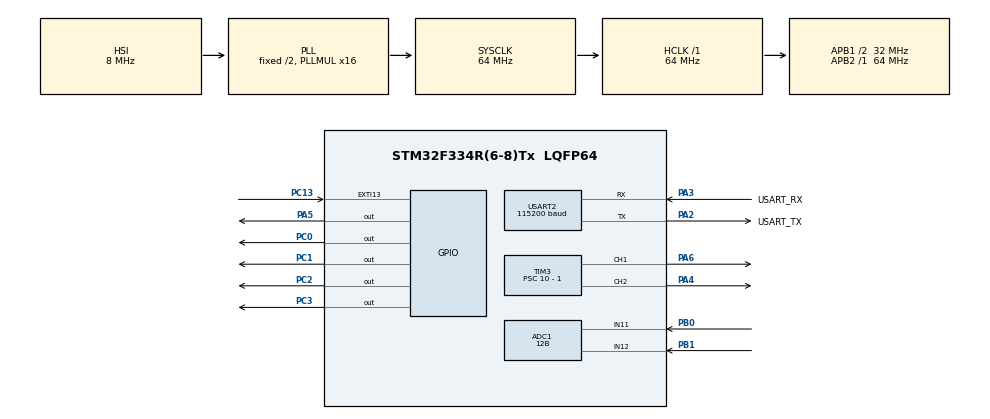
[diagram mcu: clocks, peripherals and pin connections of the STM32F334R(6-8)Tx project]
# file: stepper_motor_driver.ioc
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ADC1.Channel-0\#ChannelRegularConversion=ADC_CHANNEL_11
ADC1.Channel-1\#ChannelRegularConversion=ADC_CHANNEL_12
ADC1.ClockPrescaler=ADC_CLOCK_SYNC_PCLK_DIV4
ADC1.ContinuousConvMode=ENABLE
ADC1.DMAContinuousRequests=ENABLE
ADC1.DataAlign=ADC_DATAALIGN_RIGHT
ADC1.DiscontinuousConvMode=DISABLE
ADC1.EOCSelection=ADC_EOC_SINGLE_CONV
ADC1.EnableAnalogWatchDog1=false
ADC1.EnableAnalogWatchDog2=false
ADC1.EnableAnalogWatchDog3=false
ADC1.EnableInjectedConversion=ENABLE
ADC1.EnableRegularConversion=ENABLE
ADC1.ExternalTrigConv=ADC_SOFTWARE_START
ADC1.ExternalTrigConvEdge=ADC_EXTERNALTRIGCONVEDGE_NONE
ADC1.InjNumberOfConversion=0
ADC1.LowPowerAutoWait=DISABLE
ADC1.NbrOfConversion=2
ADC1.NbrOfConversionFlag=1
ADC1.Offset-0\#ChannelRegularConversion=0
ADC1.Offset-1\#ChannelRegularConversion=0
ADC1.OffsetNumber-0\#ChannelRegularConversion=ADC_OFFSET_NONE
ADC1.OffsetNumber-1\#ChannelRegularConversion=ADC_OFFSET_NONE
ADC1.Overrun=ADC_OVR_DATA_OVERWRITTEN
ADC1.Rank-0\#ChannelRegularConversion=1
ADC1.Rank-1\#ChannelRegularConversion=2
ADC1.Resolution=ADC_RESOLUTION_12B
ADC1.SamplingTime-0\#ChannelRegularConversion=ADC_SAMPLETIME_601CYCLES_5
ADC1.SamplingTime-1\#ChannelRegularConversion=ADC_SAMPLETIME_601CYCLES_5
ADC1.ScanConvMode=ADC_SCAN_ENABLE
ADC1.SubFamily=STM32F334x8
ADC1.master=1
Dma.ADC1.0.Direction=DMA_PERIPH_TO_MEMORY
Dma.ADC1.0.Instance=DMA1_Channel1
Dma.ADC1.0.MemDataAlignment=DMA_MDATAALIGN_HALFWORD
Dma.ADC1.0.MemInc=DMA_MINC_ENABLE
Dma.ADC1.0.Mode=DMA_CIRCULAR
Dma.ADC1.0.PeriphDataAlignment=DMA_PDATAALIGN_HALFWORD
Dma.ADC1.0.PeriphInc=DMA_PINC_DISABLE
Dma.ADC1.0.Priority=DMA_PRIORITY_LOW
Dma.Request0=ADC1
Mcu.Family=STM32F3
Mcu.Name=STM32F334R(6-8)Tx
Mcu.Package=LQFP64
NVIC.DMA1_Channel1_IRQn=true\:0\:5\:false\:false\:true
NVIC.EXTI15_10_IRQn=true\:0\:4\:false\:false\:true
NVIC.PriorityGroup=NVIC_PRIORITYGROUP_0
NVIC.TIM3_IRQn=true\:0\:3\:false\:false\:true
NVIC.TIM6_DAC1_IRQn=true\:0\:4\:false\:false\:true
NVIC.USART2_IRQn=true\:0\:2\:false\:false\:true
PA13.GPIO_Label=TMS
PA13.Signal=SYS_JTMS-SWDIO
PA14.GPIO_Label=TCK
PA14.Signal=SYS_JTCK-SWCLK
PA2.GPIO_Label=USART_TX
PA2.Mode=Asynchronous
PA2.Signal=USART2_TX
PA3.GPIO_Label=USART_RX
PA3.Mode=Asynchronous
PA3.Signal=USART2_RX
PA4.Signal=S_TIM3_CH2
PA5.Signal=GPIO_Output
PA6.Signal=S_TIM3_CH1
PB0.Mode=IN11-Single-Ended
PB0.Signal=ADC1_IN11
PB1.Mode=IN12-Single-Ended
PB1.Signal=ADC1_IN12
PB3.GPIO_Label=SWO
PB3.Signal=SYS_JTDO-TRACESWO
PC0.Signal=GPIO_Output
PC1.Signal=GPIO_Output
PC13.GPIO_ModeDefaultEXTI=GPIO_MODE_IT_FALLING
PC13.Signal=GPXTI13
PC2.Signal=GPIO_Output
PC3.Signal=GPIO_Output
ProjectManager.HeapSize=0x200
ProjectManager.StackSize=0x400
ProjectManager.TargetToolchain=SW4STM32
RCC.AHBFreq_Value=64000000
RCC.APB1CLKDivider=RCC_HCLK_DIV2
RCC.APB1Freq_Value=32000000
RCC.APB1TimFreq_Value=64000000
RCC.APB2Freq_Value=64000000
RCC.APB2TimFreq_Value=64000000
RCC.CortexFreq_Value=64000000
RCC.FLatency-AdvancedSettings=FLASH_LATENCY_2
RCC.HCLKFreq_Value=64000000
RCC.HSE_VALUE=8000000
RCC.HSI_VALUE=8000000
RCC.LSE_VALUE=32768
RCC.PLLMUL=RCC_PLL_MUL16
RCC.SYSCLKFreq_VALUE=64000000
RCC.SYSCLKSourceVirtual=RCC_SYSCLKSOURCE_PLLCLK
SH.S_TIM3_CH1.0=TIM3_CH1,PWM Generation1 CH1
SH.S_TIM3_CH2.0=TIM3_CH2,PWM Generation2 CH2
TIM3.Channel-PWM\ Generation1\ CH1=TIM_CHANNEL_1
TIM3.Channel-PWM\ Generation2\ CH2=TIM_CHANNEL_2
TIM3.Period=256 - 1
TIM3.Prescaler=10 - 1
TIM6.Period=40 - 1
TIM6.Prescaler=64000 - 1
USART2.BaudRate=115200
USART2.VirtualMode-Asynchronous=VM_ASYNC
VP_TIM3_VS_ClockSourceINT.Mode=Internal
VP_TIM6_VS_ClockSourceINT.Mode=Enable_Timer
board=NUCLEO-F334R8

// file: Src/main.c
/**
  ******************************************************************************
  * File Name          : main.c
  * Description        : Main program body
  ******************************************************************************
  ** This notice applies to any and all portions of this file
  * that are not between comment pairs USER CODE BEGIN and
  * USER CODE END. Other portions of this file, whether
  * inserted by the user or by software development tools
  * are owned by their respective copyright owners.
  *
  * COPYRIGHT(c) 2018 STMicroelectronics
  *
  * Redistribution and use in source and binary forms, with or without modification,
  * are permitted provided that the following conditions are met:
  *   1. Redistributions of source code must retain the above copyright notice,
  *      this list of conditions and the following disclaimer.
  *   2. Redistributions in binary form must reproduce the above copyright notice,
  *      this list of conditions and the following disclaimer in the documentation
  *      and/or other materials provided with the distribution.
  *   3. Neither the name of STMicroelectronics nor the names of its contributors
  *      may be used to endorse or promote products derived from this software
  *      without specific prior written permission.
  *
  * THIS SOFTWARE IS PROVIDED BY THE COPYRIGHT HOLDERS AND CONTRIBUTORS "AS IS"
  * AND ANY EXPRESS OR IMPLIED WARRANTIES, INCLUDING, BUT NOT LIMITED TO, THE
  * IMPLIED WARRANTIES OF MERCHANTABILITY AND FITNESS FOR A PARTICULAR PURPOSE ARE
  * DISCLAIMED. IN NO EVENT SHALL THE COPYRIGHT HOLDER OR CONTRIBUTORS BE LIABLE
  * FOR ANY DIRECT, INDIRECT, INCIDENTAL, SPECIAL, EXEMPLARY, OR CONSEQUENTIAL
  * DAMAGES (INCLUDING, BUT NOT LIMITED TO, PROCUREMENT OF SUBSTITUTE GOODS OR
  * SERVICES; LOSS OF USE, DATA, OR PROFITS; OR BUSINESS INTERRUPTION) HOWEVER
  * CAUSED AND ON ANY THEORY OF LIABILITY, WHETHER IN CONTRACT, STRICT LIABILITY,
  * OR TORT (INCLUDING NEGLIGENCE OR OTHERWISE) ARISING IN ANY WAY OUT OF THE USE
  * OF THIS SOFTWARE, EVEN IF ADVISED OF THE POSSIBILITY OF SUCH DAMAGE.
  *
  ******************************************************************************
  */
#include "main.h"
#include "stm32f3xx_hal.h"

/* USER CODE BEGIN Includes */
#include <string.h>

#define STEP_RESOLUTION 256

#define D_HEADER          0b10101010
#define D_STOP(in)        (in.mode & 0b10000000)
#define D_DIRECTION(in)   (in.mode & 0b01000000)
#define D_STEP_SIZE(in)   (in.mode & 0b00111111)

#define S_HEADER          0b10100000
#define S_RESET           0b00000001
#define S_SINGLESTEPPING  0b00000010
#define S_OVERHEAT        0b00000100
#define S_OVERVOLTAGE     0b00001000
#define S_UNDERVOLTAGE    0b00010000

/* USER CODE END Includes */

ADC_HandleTypeDef hadc1;
DMA_HandleTypeDef hdma_adc1;

TIM_HandleTypeDef htim3;
TIM_HandleTypeDef htim6;

UART_HandleTypeDef huart2;

/* USER CODE BEGIN PV */
/* Private variables ---------------------------------------------------------*/
const int16_t qsin[64] = {
  0,
  25,
  50,
  74,
  98,
  121,
  142,
  162,
  181,
  198,
  213,
  226,
  237,
  245,
  251,
  255,
  256,
  255,
  251,
  245,
  237,
  226,
  213,
  198,
  181,
  162,
  142,
  121,
  98,
  74,
  50,
  25,
  0,
  -25,
  -50,
  -74,
  -98,
  -121,
  -142,
  -162,
  -181,
  -198,
  -213,
  -226,
  -237,
  -245,
  -251,
  -255,
  -256,
  -255,
  -251,
  -245,
  -237,
  -226,
  -213,
  -198,
  -181,
  -162,
  -142,
  -121,
  -98,
  -74,
  -50,
  -25,
};

const int16_t qcos[64] = {
  256,
  255,
  251,
  245,
  237,
  226,
  213,
  198,
  181,
  162,
  142,
  121,
  98,
  74,
  50,
  25,
  0,
  -25,
  -50,
  -74,
  -98,
  -121,
  -142,
  -162,
  -181,
  -198,
  -213,
  -226,
  -237,
  -245,
  -251,
  -255,
  -256,
  -255,
  -251,
  -245,
  -237,
  -226,
  -213,
  -198,
  -181,
  -162,
  -142,
  -121,
  -98,
  -74,
  -50,
  -25,
  0,
  25,
  50,
  74,
  98,
  121,
  142,
  162,
  181,
  198,
  213,
  226,
  237,
  245,
  251,
  255,
};

typedef struct
{
    uint8_t header;
    uint8_t mode;
    uint16_t speed;
    uint32_t steps;
} data_t;

volatile data_t parameters = {0, 1, 200, 0};
volatile data_t temp_parameters;
volatile int step = 0;
volatile int counter = 0;
volatile uint8_t is_overheat = 0;
volatile uint8_t is_overvoltage = 0;
uint16_t adc_dma_values[2];

char receive_buffer[64];
char send_buffer[64];
/* USER CODE END PV */

void SystemClock_Config(void);
static void MX_GPIO_Init(void);
static void MX_DMA_Init(void);
static void MX_TIM3_Init(void);
static void MX_USART2_UART_Init(void);
static void MX_TIM6_Init(void);
static void MX_ADC1_Init(void);

void HAL_TIM_MspPostInit(TIM_HandleTypeDef *htim);

/* USER CODE BEGIN PFP */
/* Private function prototypes -----------------------------------------------*/
void HAL_TIM_PWM_PulseFinishedCallback(TIM_HandleTypeDef *htim);
void HAL_GPIO_EXTI_Callback(uint16_t GPIO_Pin);
void HAL_UART_RxCpltCallback(UART_HandleTypeDef *huart);
void HAL_TIM_PeriodElapsedCallback(TIM_HandleTypeDef *htim);
/* USER CODE END PFP */

int main(void)
{

  /* MCU Configuration----------------------------------------------------------*/

  /* Reset of all peripherals, Initializes the Flash interface and the Systick. */
  HAL_Init();

  /* Configure the system clock */
  SystemClock_Config();

  /* Initialize all configured peripherals */
  MX_GPIO_Init();
  MX_DMA_Init();
  MX_TIM3_Init();
  MX_USART2_UART_Init();
  MX_TIM6_Init();
  MX_ADC1_Init();

  /* USER CODE BEGIN 2 */
  HAL_ADC_Start_DMA(&hadc1, (uint32_t*)adc_dma_values, 2);

  HAL_TIM_PWM_Start_IT(&htim3, TIM_CHANNEL_1);
  HAL_TIM_PWM_Start(&htim3, TIM_CHANNEL_2);
  HAL_TIM_Base_Start_IT(&htim6);

  TIM3->CCR1 = 0;
  TIM3->CCR2 = 0;

  uint8_t data = S_HEADER | S_RESET;
  while(HAL_UART_Transmit_IT(&huart2, &data, sizeof(data)) != HAL_OK);

  HAL_UART_Receive_IT(&huart2, (uint8_t*)&temp_parameters, sizeof(temp_parameters));

  /* USER CODE END 2 */

  /* Infinite loop */
  while (1)
  {

  }

}

/** System Clock Configuration
*/
void SystemClock_Config(void)
{

  RCC_OscInitTypeDef RCC_OscInitStruct;
  RCC_ClkInitTypeDef RCC_ClkInitStruct;

    /**Initializes the CPU, AHB and APB busses clocks
    */
  RCC_OscInitStruct.OscillatorType = RCC_OSCILLATORTYPE_HSI;
  RCC_OscInitStruct.HSIState = RCC_HSI_ON;
  RCC_OscInitStruct.HSICalibrationValue = 16;
  RCC_OscInitStruct.PLL.PLLState = RCC_PLL_ON;
  RCC_OscInitStruct.PLL.PLLSource = RCC_PLLSOURCE_HSI;
  RCC_OscInitStruct.PLL.PLLMUL = RCC_PLL_MUL16;
  if (HAL_RCC_OscConfig(&RCC_OscInitStruct) != HAL_OK)
  {
    _Error_Handler(__FILE__, __LINE__);
  }

    /**Initializes the CPU, AHB and APB busses clocks
    */
  RCC_ClkInitStruct.ClockType = RCC_CLOCKTYPE_HCLK|RCC_CLOCKTYPE_SYSCLK
                              |RCC_CLOCKTYPE_PCLK1|RCC_CLOCKTYPE_PCLK2;
  RCC_ClkInitStruct.SYSCLKSource = RCC_SYSCLKSOURCE_PLLCLK;
  RCC_ClkInitStruct.AHBCLKDivider = RCC_SYSCLK_DIV1;
  RCC_ClkInitStruct.APB1CLKDivider = RCC_HCLK_DIV2;
  RCC_ClkInitStruct.APB2CLKDivider = RCC_HCLK_DIV1;

  if (HAL_RCC_ClockConfig(&RCC_ClkInitStruct, FLASH_LATENCY_2) != HAL_OK)
  {
    _Error_Handler(__FILE__, __LINE__);
  }

    /**Configure the Systick interrupt time
    */
  HAL_SYSTICK_Config(HAL_RCC_GetHCLKFreq()/1000);

    /**Configure the Systick
    */
  HAL_SYSTICK_CLKSourceConfig(SYSTICK_CLKSOURCE_HCLK);

  /* SysTick_IRQn interrupt configuration */
  HAL_NVIC_SetPriority(SysTick_IRQn, 0, 4);
}

/* ADC1 init function */
static void MX_ADC1_Init(void)
{

  ADC_MultiModeTypeDef multimode;
  ADC_ChannelConfTypeDef sConfig;

    /**Common config
    */
  hadc1.Instance = ADC1;
  hadc1.Init.ClockPrescaler = ADC_CLOCK_SYNC_PCLK_DIV4;
  hadc1.Init.Resolution = ADC_RESOLUTION_12B;
  hadc1.Init.ScanConvMode = ADC_SCAN_ENABLE;
  hadc1.Init.ContinuousConvMode = ENABLE;
  hadc1.Init.DiscontinuousConvMode = DISABLE;
  hadc1.Init.ExternalTrigConvEdge = ADC_EXTERNALTRIGCONVEDGE_NONE;
  hadc1.Init.ExternalTrigConv = ADC_SOFTWARE_START;
  hadc1.Init.DataAlign = ADC_DATAALIGN_RIGHT;
  hadc1.Init.NbrOfConversion = 2;
  hadc1.Init.DMAContinuousRequests = ENABLE;
  hadc1.Init.EOCSelection = ADC_EOC_SINGLE_CONV;
  hadc1.Init.LowPowerAutoWait = DISABLE;
  hadc1.Init.Overrun = ADC_OVR_DATA_OVERWRITTEN;
  if (HAL_ADC_Init(&hadc1) != HAL_OK)
  {
    _Error_Handler(__FILE__, __LINE__);
  }

    /**Configure the ADC multi-mode
    */
  multimode.Mode = ADC_MODE_INDEPENDENT;
  if (HAL_ADCEx_MultiModeConfigChannel(&hadc1, &multimode) != HAL_OK)
  {
    _Error_Handler(__FILE__, __LINE__);
  }

    /**Configure Regular Channel
    */
  sConfig.Channel = ADC_CHANNEL_11;
  sConfig.Rank = 1;
  sConfig.SingleDiff = ADC_SINGLE_ENDED;
  sConfig.SamplingTime = ADC_SAMPLETIME_601CYCLES_5;
  sConfig.OffsetNumber = ADC_OFFSET_NONE;
  sConfig.Offset = 0;
  if (HAL_ADC_ConfigChannel(&hadc1, &sConfig) != HAL_OK)
  {
    _Error_Handler(__FILE__, __LINE__);
  }

    /**Configure Regular Channel
    */
  sConfig.Channel = ADC_CHANNEL_12;
  sConfig.Rank = 2;
  if (HAL_ADC_ConfigChannel(&hadc1, &sConfig) != HAL_OK)
  {
    _Error_Handler(__FILE__, __LINE__);
  }

}

/* TIM3 init function */
static void MX_TIM3_Init(void)
{

  TIM_ClockConfigTypeDef sClockSourceConfig;
  TIM_MasterConfigTypeDef sMasterConfig;
  TIM_OC_InitTypeDef sConfigOC;

  htim3.Instance = TIM3;
  htim3.Init.Prescaler = 10 - 1;
  htim3.Init.CounterMode = TIM_COUNTERMODE_UP;
  htim3.Init.Period = 256 - 1;
  htim3.Init.ClockDivision = TIM_CLOCKDIVISION_DIV1;
  htim3.Init.AutoReloadPreload = TIM_AUTORELOAD_PRELOAD_DISABLE;
  if (HAL_TIM_Base_Init(&htim3) != HAL_OK)
  {
    _Error_Handler(__FILE__, __LINE__);
  }

  sClockSourceConfig.ClockSource = TIM_CLOCKSOURCE_INTERNAL;
  if (HAL_TIM_ConfigClockSource(&htim3, &sClockSourceConfig) != HAL_OK)
  {
    _Error_Handler(__FILE__, __LINE__);
  }

  if (HAL_TIM_PWM_Init(&htim3) != HAL_OK)
  {
    _Error_Handler(__FILE__, __LINE__);
  }

  sMasterConfig.MasterOutputTrigger = TIM_TRGO_RESET;
  sMasterConfig.MasterSlaveMode = TIM_MASTERSLAVEMODE_DISABLE;
  if (HAL_TIMEx_MasterConfigSynchronization(&htim3, &sMasterConfig) != HAL_OK)
  {
    _Error_Handler(__FILE__, __LINE__);
  }

  sConfigOC.OCMode = TIM_OCMODE_PWM1;
  sConfigOC.Pulse = 0;
  sConfigOC.OCPolarity = TIM_OCPOLARITY_HIGH;
  sConfigOC.OCFastMode = TIM_OCFAST_DISABLE;
  if (HAL_TIM_PWM_ConfigChannel(&htim3, &sConfigOC, TIM_CHANNEL_1) != HAL_OK)
  {
    _Error_Handler(__FILE__, __LINE__);
  }

  if (HAL_TIM_PWM_ConfigChannel(&htim3, &sConfigOC, TIM_CHANNEL_2) != HAL_OK)
  {
    _Error_Handler(__FILE__, __LINE__);
  }

  HAL_TIM_MspPostInit(&htim3);

}

/* TIM6 init function */
static void MX_TIM6_Init(void)
{

  TIM_MasterConfigTypeDef sMasterConfig;

  htim6.Instance = TIM6;
  htim6.Init.Prescaler = 64000 - 1;
  htim6.Init.CounterMode = TIM_COUNTERMODE_UP;
  htim6.Init.Period = 40 - 1;
  htim6.Init.AutoReloadPreload = TIM_AUTORELOAD_PRELOAD_DISABLE;
  if (HAL_TIM_Base_Init(&htim6) != HAL_OK)
  {
    _Error_Handler(__FILE__, __LINE__);
  }

  sMasterConfig.MasterOutputTrigger = TIM_TRGO_RESET;
  sMasterConfig.MasterSlaveMode = TIM_MASTERSLAVEMODE_DISABLE;
  if (HAL_TIMEx_MasterConfigSynchronization(&htim6, &sMasterConfig) != HAL_OK)
  {
    _Error_Handler(__FILE__, __LINE__);
  }

}

/* USART2 init function */
static void MX_USART2_UART_Init(void)
{

  huart2.Instance = USART2;
  huart2.Init.BaudRate = 115200;
  huart2.Init.StopBits = UART_STOPBITS_1;
  huart2.Init.Parity = UART_PARITY_NONE;
  huart2.Init.Mode = UART_MODE_TX_RX;
  huart2.Init.HwFlowCtl = UART_HWCONTROL_NONE;
  huart2.Init.OverSampling = UART_OVERSAMPLING_16;
  huart2.Init.OneBitSampling = UART_ONE_BIT_SAMPLE_DISABLE;
  huart2.AdvancedInit.AdvFeatureInit = UART_ADVFEATURE_NO_INIT;
  if (HAL_UART_Init(&huart2) != HAL_OK)
  {
    _Error_Handler(__FILE__, __LINE__);
  }

}

static void MX_DMA_Init(void)
{
  /* DMA controller clock enable */
  __HAL_RCC_DMA1_CLK_ENABLE();

  /* DMA interrupt init */
  /* DMA1_Channel1_IRQn interrupt configuration */
  HAL_NVIC_SetPriority(DMA1_Channel1_IRQn, 0, 5);
  HAL_NVIC_EnableIRQ(DMA1_Channel1_IRQn);

}

/** Configure pins as
        * Analog
        * Input
        * Output
        * EVENT_OUT
        * EXTI
*/
static void MX_GPIO_Init(void)
{

  GPIO_InitTypeDef GPIO_InitStruct;

  /* GPIO Ports Clock Enable */
  __HAL_RCC_GPIOC_CLK_ENABLE();
  __HAL_RCC_GPIOA_CLK_ENABLE();
  __HAL_RCC_GPIOB_CLK_ENABLE();

  /*Configure GPIO pin Output Level */
  HAL_GPIO_WritePin(GPIOC, GPIO_PIN_0|GPIO_PIN_1|GPIO_PIN_2|GPIO_PIN_3, GPIO_PIN_RESET);

  /*Configure GPIO pin Output Level */
  HAL_GPIO_WritePin(GPIOA, GPIO_PIN_5, GPIO_PIN_RESET);

  /*Configure GPIO pin : PC13 */
  GPIO_InitStruct.Pin = GPIO_PIN_13;
  GPIO_InitStruct.Mode = GPIO_MODE_IT_FALLING;
  GPIO_InitStruct.Pull = GPIO_NOPULL;
  HAL_GPIO_Init(GPIOC, &GPIO_InitStruct);

  /*Configure GPIO pins : PC0 PC1 PC2 PC3 */
  GPIO_InitStruct.Pin = GPIO_PIN_0|GPIO_PIN_1|GPIO_PIN_2|GPIO_PIN_3;
  GPIO_InitStruct.Mode = GPIO_MODE_OUTPUT_PP;
  GPIO_InitStruct.Pull = GPIO_NOPULL;
  GPIO_InitStruct.Speed = GPIO_SPEED_FREQ_LOW;
  HAL_GPIO_Init(GPIOC, &GPIO_InitStruct);

  /*Configure GPIO pin : PA5 */
  GPIO_InitStruct.Pin = GPIO_PIN_5;
  GPIO_InitStruct.Mode = GPIO_MODE_OUTPUT_PP;
  GPIO_InitStruct.Pull = GPIO_NOPULL;
  GPIO_InitStruct.Speed = GPIO_SPEED_FREQ_LOW;
  HAL_GPIO_Init(GPIOA, &GPIO_InitStruct);

  /* EXTI interrupt init*/
  HAL_NVIC_SetPriority(EXTI15_10_IRQn, 0, 4);
  HAL_NVIC_EnableIRQ(EXTI15_10_IRQn);

}

/* USER CODE BEGIN 4 */
void HAL_TIM_PWM_PulseFinishedCallback(TIM_HandleTypeDef *htim)
{
  if(htim->Instance != TIM3)
    return;

  if(is_overheat || is_overvoltage) {
    TIM3->CCR1 = 0;
    TIM3->CCR2 = 0;
    return;
  }

  // if is not looped and there are no steps to be made, then do nothing
  if(D_STOP(parameters) && !parameters.steps)
    return;

  ++counter;

  // is there need to make next step?
  if(counter <= parameters.speed * 64 / (4 * D_STEP_SIZE(parameters)))
    return;

  if(parameters.steps)
    --parameters.steps;

  counter = 0;
  ++step;

  // just a modulo
  if(step >= (4 * D_STEP_SIZE(parameters)))
    step = 0;

  // get next step value
  int a = qsin[step * 64 / (4 * D_STEP_SIZE(parameters))];
  int b = qcos[step * 64 / (4 * D_STEP_SIZE(parameters))];

  uint16_t a_pin_0 = GPIO_PIN_0;
  uint16_t a_pin_1 = GPIO_PIN_1;

  // if direction if flipped, then reverse the polarity of phase A
  if(D_DIRECTION(parameters))
  {
    a_pin_0 = GPIO_PIN_1;
    a_pin_1 = GPIO_PIN_0;
  }

  if(a > 0)
  {
    TIM3->CCR1 = a;
    HAL_GPIO_WritePin(GPIOC, a_pin_0, GPIO_PIN_SET);
    HAL_GPIO_WritePin(GPIOC, a_pin_1, GPIO_PIN_RESET);
  }
  else
  {
    TIM3->CCR1 = -a;
    HAL_GPIO_WritePin(GPIOC, a_pin_0, GPIO_PIN_RESET);
    HAL_GPIO_WritePin(GPIOC, a_pin_1, GPIO_PIN_SET);
  }

  if(b > 0)
  {
    TIM3->CCR2 = b;
    HAL_GPIO_WritePin(GPIOC, GPIO_PIN_2, GPIO_PIN_SET);
    HAL_GPIO_WritePin(GPIOC, GPIO_PIN_3, GPIO_PIN_RESET);
  }
  else
  {
    TIM3->CCR2 = -b;
    HAL_GPIO_WritePin(GPIOC, GPIO_PIN_2, GPIO_PIN_RESET);
    HAL_GPIO_WritePin(GPIOC, GPIO_PIN_3, GPIO_PIN_SET);
  }
}

void HAL_GPIO_EXTI_Callback(uint16_t GPIO_Pin)
{
  // blue button pressed
}

void HAL_UART_RxCpltCallback(UART_HandleTypeDef *huart) {
  // check if received data are correct
  if(temp_parameters.header == D_HEADER)
    parameters = temp_parameters;

  HAL_UART_Receive_IT(&huart2, (uint8_t*)&temp_parameters, sizeof(temp_parameters));
  HAL_GPIO_TogglePin(GPIOA, GPIO_PIN_5);
}

void HAL_TIM_PeriodElapsedCallback(TIM_HandleTypeDef *htim)
{
  if(htim->Instance != TIM6)
    return;

  HAL_GPIO_TogglePin(GPIOA, GPIO_PIN_5);

  uint8_t data = S_HEADER;

  // check if is during making single step
  if(D_STOP(parameters) && parameters.steps)
    data |= S_SINGLESTEPPING;

  // check if is cooled enough
  if(adc_dma_values[0] < 3200)
    is_overheat = 0;

  // check if is overheated
  if(adc_dma_values[0] > 3600 || is_overheat) {
    is_overheat = 1;
    data |= S_OVERHEAT;
  }

  // power supply 12.5V - is OK
  if(adc_dma_values[1] < 1536)
    is_overvoltage = 0;

  // power supply 14V - overvoltage
  if(adc_dma_values[1] > 1720 || is_overvoltage) {
    is_overvoltage = 1;
    data |= S_OVERVOLTAGE;
  }

  // power supply 5.5V - undervoltage
  if(adc_dma_values[1] < 676)
    data |= S_UNDERVOLTAGE;

  HAL_UART_Transmit_IT(&huart2, &data, sizeof(data));
}
/* USER CODE END 4 */

void _Error_Handler(char * file, int line)
{
  while(1)
  {
  }
}

/************************ (C) COPYRIGHT STMicroelectronics *****END OF FILE****/
